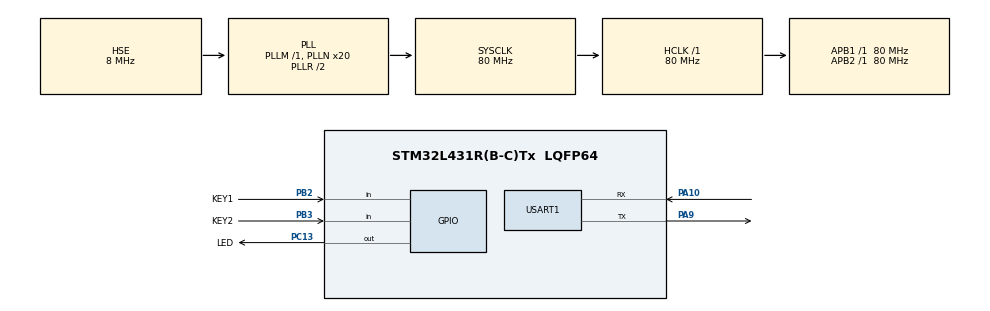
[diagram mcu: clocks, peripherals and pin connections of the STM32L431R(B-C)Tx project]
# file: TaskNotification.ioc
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FREERTOS.Tasks01=Receive1_Task,0,128,Recv1Task,Default,NULL,Dynamic,NULL,NULL;Receive2_Task,-3,128,Recv2Task,Default,NULL,Dynamic,NULL,NULL;Send_Task,-3,128,SendTask,Default,NULL,Dynamic,NULL,NULL
Mcu.Family=STM32L4
Mcu.Name=STM32L431R(B-C)Tx
Mcu.Package=LQFP64
NVIC.PriorityGroup=NVIC_PRIORITYGROUP_4
NVIC.TIM1_UP_TIM16_IRQn=true\:0\:0\:false\:false\:true\:false\:false\:true
NVIC.TimeBase=TIM1_UP_TIM16_IRQn
NVIC.TimeBaseIP=TIM1
PA10.Mode=Asynchronous
PA10.Signal=USART1_RX
PA9.Mode=Asynchronous
PA9.Signal=USART1_TX
PB2.GPIO_Label=KEY1
PB2.GPIO_PuPd=GPIO_PULLUP
PB2.Signal=GPIO_Input
PB3\ (JTDO-TRACESWO).GPIO_Label=KEY2
PB3\ (JTDO-TRACESWO).GPIO_PuPd=GPIO_PULLUP
PB3\ (JTDO-TRACESWO).Signal=GPIO_Input
PC13.GPIO_Label=LED
PC13.Signal=GPIO_Output
PC14-OSC32_IN\ (PC14).Mode=LSE-External-Oscillator
PC14-OSC32_IN\ (PC14).Signal=RCC_OSC32_IN
PC15-OSC32_OUT\ (PC15).Mode=LSE-External-Oscillator
PC15-OSC32_OUT\ (PC15).Signal=RCC_OSC32_OUT
PH0-OSC_IN\ (PH0).Mode=HSE-External-Oscillator
PH0-OSC_IN\ (PH0).Signal=RCC_OSC_IN
PH1-OSC_OUT\ (PH1).Mode=HSE-External-Oscillator
PH1-OSC_OUT\ (PH1).Signal=RCC_OSC_OUT
ProjectManager.HeapSize=0x200
ProjectManager.StackSize=0x400
ProjectManager.TargetToolchain=SW4STM32
RCC.ADCFreq_Value=32000000
RCC.AHBFreq_Value=80000000
RCC.APB1Freq_Value=80000000
RCC.APB1TimFreq_Value=80000000
RCC.APB2Freq_Value=80000000
RCC.APB2TimFreq_Value=80000000
RCC.CortexFreq_Value=80000000
RCC.HCLKFreq_Value=80000000
RCC.HSE_VALUE=8000000
RCC.HSI48_VALUE=48000000
RCC.HSI_VALUE=16000000
RCC.MSI_VALUE=4000000
RCC.PLLN=20
RCC.PLLSourceVirtual=RCC_PLLSOURCE_HSE
RCC.SYSCLKFreq_VALUE=80000000
RCC.SYSCLKSource=RCC_SYSCLKSOURCE_PLLCLK
RCC.VCOOutputFreq_Value=160000000
USART1.VirtualMode-Asynchronous=VM_ASYNC
VP_FREERTOS_VS_CMSIS_V1.Mode=CMSIS_V1
VP_SYS_VS_tim1.Mode=TIM1
board=custom

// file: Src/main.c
/* USER CODE BEGIN Header */
/**
  ******************************************************************************
  * @file           : main.c
  * @brief          : Main program body
  ******************************************************************************
  * @attention
  *
  * <h2><center>&copy; Copyright (c) 2020 STMicroelectronics.
  * All rights reserved.</center></h2>
  *
  * This software component is licensed by ST under Ultimate Liberty license
  * SLA0044, the "License"; You may not use this file except in compliance with
  * the License. You may obtain a copy of the License at:
  *                             www.st.com/SLA0044
  *
  ******************************************************************************
  */
/* USER CODE END Header */

#include "main.h"
#include "cmsis_os.h"

/* USER CODE BEGIN PD */

#define  USE_CHAR 0 /*测试字符串配置用1，测试变量配置为0*/
/* USER CODE END PD */

UART_HandleTypeDef huart1;

osThreadId Receive1_TaskHandle;
osThreadId Receive2_TaskHandle;
osThreadId Send_TaskHandle;
/* USER CODE BEGIN PV */

#if 1
#include <stdio.h>
#include <limits.h>

int _write(int fd, char *ptr, int len)
{
    HAL_UART_Transmit(&huart1,(uint8_t*)ptr, len, 0xFFFF);
    return len;
}

#endif

/* USER CODE END PV */

void SystemClock_Config(void);
static void MX_GPIO_Init(void);
static void MX_USART1_UART_Init(void);
void Recv1Task(void const * argument);
void Recv2Task(void const * argument);
void SendTask(void const * argument);

int main(void)
{

  /* MCU Configuration--------------------------------------------------------*/

  /* Reset of all peripherals, Initializes the Flash interface and the Systick. */
  HAL_Init();

  /* Configure the system clock */
  SystemClock_Config();

  /* Initialize all configured peripherals */
  MX_GPIO_Init();
  MX_USART1_UART_Init();
  /* USER CODE BEGIN 2 */

  printf("Task Notification demo\n");

  /* USER CODE END 2 */

  /* Create the thread(s) */
  /* definition and creation of Receive1_Task */
  osThreadDef(Receive1_Task, Recv1Task, osPriorityNormal, 0, 128);
  Receive1_TaskHandle = osThreadCreate(osThread(Receive1_Task), NULL);

  /* definition and creation of Receive2_Task */
  osThreadDef(Receive2_Task, Recv2Task, osPriorityIdle, 0, 128);
  Receive2_TaskHandle = osThreadCreate(osThread(Receive2_Task), NULL);

  /* definition and creation of Send_Task */
  osThreadDef(Send_Task, SendTask, osPriorityIdle, 0, 128);
  Send_TaskHandle = osThreadCreate(osThread(Send_Task), NULL);

  /* Start scheduler */
  osKernelStart();

  /* We should never get here as control is now taken by the scheduler */

  /* Infinite loop */
  while (1)
  {

  }
}

void SystemClock_Config(void)
{
  RCC_OscInitTypeDef RCC_OscInitStruct = {0};
  RCC_ClkInitTypeDef RCC_ClkInitStruct = {0};
  RCC_PeriphCLKInitTypeDef PeriphClkInit = {0};

  /** Initializes the CPU, AHB and APB busses clocks
  */
  RCC_OscInitStruct.OscillatorType = RCC_OSCILLATORTYPE_HSE;
  RCC_OscInitStruct.HSEState = RCC_HSE_ON;
  RCC_OscInitStruct.PLL.PLLState = RCC_PLL_ON;
  RCC_OscInitStruct.PLL.PLLSource = RCC_PLLSOURCE_HSE;
  RCC_OscInitStruct.PLL.PLLM = 1;
  RCC_OscInitStruct.PLL.PLLN = 20;
  RCC_OscInitStruct.PLL.PLLP = RCC_PLLP_DIV7;
  RCC_OscInitStruct.PLL.PLLQ = RCC_PLLQ_DIV2;
  RCC_OscInitStruct.PLL.PLLR = RCC_PLLR_DIV2;
  if (HAL_RCC_OscConfig(&RCC_OscInitStruct) != HAL_OK)
  {
    Error_Handler();
  }
  /** Initializes the CPU, AHB and APB busses clocks
  */
  RCC_ClkInitStruct.ClockType = RCC_CLOCKTYPE_HCLK|RCC_CLOCKTYPE_SYSCLK
                              |RCC_CLOCKTYPE_PCLK1|RCC_CLOCKTYPE_PCLK2;
  RCC_ClkInitStruct.SYSCLKSource = RCC_SYSCLKSOURCE_PLLCLK;
  RCC_ClkInitStruct.AHBCLKDivider = RCC_SYSCLK_DIV1;
  RCC_ClkInitStruct.APB1CLKDivider = RCC_HCLK_DIV1;
  RCC_ClkInitStruct.APB2CLKDivider = RCC_HCLK_DIV1;

  if (HAL_RCC_ClockConfig(&RCC_ClkInitStruct, FLASH_LATENCY_4) != HAL_OK)
  {
    Error_Handler();
  }
  PeriphClkInit.PeriphClockSelection = RCC_PERIPHCLK_USART1;
  PeriphClkInit.Usart1ClockSelection = RCC_USART1CLKSOURCE_PCLK2;
  if (HAL_RCCEx_PeriphCLKConfig(&PeriphClkInit) != HAL_OK)
  {
    Error_Handler();
  }
  /** Configure the main internal regulator output voltage
  */
  if (HAL_PWREx_ControlVoltageScaling(PWR_REGULATOR_VOLTAGE_SCALE1) != HAL_OK)
  {
    Error_Handler();
  }
}

static void MX_USART1_UART_Init(void)
{

  huart1.Instance = USART1;
  huart1.Init.BaudRate = 115200;
  huart1.Init.WordLength = UART_WORDLENGTH_8B;
  huart1.Init.StopBits = UART_STOPBITS_1;
  huart1.Init.Parity = UART_PARITY_NONE;
  huart1.Init.Mode = UART_MODE_TX_RX;
  huart1.Init.HwFlowCtl = UART_HWCONTROL_NONE;
  huart1.Init.OverSampling = UART_OVERSAMPLING_16;
  huart1.Init.OneBitSampling = UART_ONE_BIT_SAMPLE_DISABLE;
  huart1.AdvancedInit.AdvFeatureInit = UART_ADVFEATURE_NO_INIT;
  if (HAL_UART_Init(&huart1) != HAL_OK)
  {
    Error_Handler();
  }

}

static void MX_GPIO_Init(void)
{
  GPIO_InitTypeDef GPIO_InitStruct = {0};

  /* GPIO Ports Clock Enable */
  __HAL_RCC_GPIOC_CLK_ENABLE();
  __HAL_RCC_GPIOH_CLK_ENABLE();
  __HAL_RCC_GPIOB_CLK_ENABLE();
  __HAL_RCC_GPIOA_CLK_ENABLE();

  /*Configure GPIO pin Output Level */
  HAL_GPIO_WritePin(LED_GPIO_Port, LED_Pin, GPIO_PIN_RESET);

  /*Configure GPIO pin : LED_Pin */
  GPIO_InitStruct.Pin = LED_Pin;
  GPIO_InitStruct.Mode = GPIO_MODE_OUTPUT_PP;
  GPIO_InitStruct.Pull = GPIO_NOPULL;
  GPIO_InitStruct.Speed = GPIO_SPEED_FREQ_LOW;
  HAL_GPIO_Init(LED_GPIO_Port, &GPIO_InitStruct);

  /*Configure GPIO pins : KEY1_Pin KEY2_Pin */
  GPIO_InitStruct.Pin = KEY1_Pin|KEY2_Pin;
  GPIO_InitStruct.Mode = GPIO_MODE_INPUT;
  GPIO_InitStruct.Pull = GPIO_PULLUP;
  HAL_GPIO_Init(GPIOB, &GPIO_InitStruct);

}

void Recv1Task(void const * argument)
{
  /* USER CODE BEGIN 5 */
  BaseType_t xReturn  = pdTRUE;
#if USE_CHAR
  char *r_char;
#else
  uint32_t r_num;
#endif
  /* Infinite loop */
  for(;;)
  {
      //获取任务通知。没获取到则一直等待
      xReturn = xTaskNotifyWait(0x0, //进入函数的时候不清除任务bit
              ULONG_MAX, //退出函数的时候清除所有的bit
#if USE_CHAR
      (uint32_t*)&r_char, //保存任务通知
#else
    &r_num, //保存任务通知
#endif
        portMAX_DELAY //阻塞时间
               );

      if(pdTRUE == xReturn){
#if USE_CHAR
          printf("Receive1_Task 任务通知为 %s\n", r_char);
#else
          printf("Receive1_Task 任务通知为 %d\n", r_num);
#endif
          HAL_GPIO_TogglePin(LED_GPIO_Port, LED_Pin);
      }
    osDelay(1);
  }
  /* USER CODE END 5 */
}

void Recv2Task(void const * argument)
{
  /* USER CODE BEGIN Recv2Task */
    BaseType_t xReturn  = pdTRUE;
#if USE_CHAR
    char *r_char;
#else
    uint32_t r_num;
#endif
    /* Infinite loop */
    for(;;)
    {
        //获取任务通知。没获取到则一直等待
        xReturn = xTaskNotifyWait(0x0, //进入函数的时候不清除任务bit
                                  ULONG_MAX, //退出函数的时候清除所有的bit
#if USE_CHAR
                (uint32_t*)&r_char, //保存任务通知
#else
                                  &r_num, //保存任务通知
#endif
                                  portMAX_DELAY //阻塞时间
        );

        if(pdTRUE == xReturn){
#if USE_CHAR
            printf("Receive2_Task 任务通知为 %s\n", r_char);
#else
            printf("Receive2_Task 任务通知为 %d\n", r_num);
#endif
            HAL_GPIO_TogglePin(LED_GPIO_Port, LED_Pin);
        }
        osDelay(1);
    }
  /* USER CODE END Recv2Task */
}

void SendTask(void const * argument)
{
  /* USER CODE BEGIN SendTask */
  BaseType_t  xReturn = pdPASS;
#if USE_CHAR
  char test_str1[] = "this is a mail test 1";
  char test_str2[] = "this is a mail test 2";
#else
  uint32_t send1 = 1;
  uint32_t send2 = 2;
#endif
  /* Infinite loop */
  for(;;)
  {
      if(HAL_GPIO_ReadPin(KEY1_GPIO_Port, KEY1_Pin) == GPIO_PIN_RESET){
          xReturn = xTaskNotify(Receive1_TaskHandle, //任务句柄
                                #if USE_CHAR
                                (uint32_t)&test_str1, /*发送的数据，最大是4个字节*/
                                #else
                                send1,
                                #endif
        eSetValueWithOverwrite); //覆盖当前通知
        if(xReturn == pdPASS){
              printf("Receive1_Task_Handle 任务通知释放成功\n");
        }
      }

      if(HAL_GPIO_ReadPin(KEY2_GPIO_Port, KEY2_Pin) == GPIO_PIN_RESET){
          xReturn = xTaskNotify(Receive2_TaskHandle, //任务句柄
                                #if USE_CHAR
                                (uint32_t)&test_str2, /*发送的数据，最大是4个字节*/
                                #else
                                        send2,
                                #endif
                                        eSetValueWithOverwrite); //覆盖当前通知
          if(xReturn == pdPASS){
              printf("Receiver2_Task_Handle 任务通知释放成功\n");
          }
      }

    osDelay(100);
  }
  /* USER CODE END SendTask */
}

void HAL_TIM_PeriodElapsedCallback(TIM_HandleTypeDef *htim)
{
  if (htim->Instance == TIM1) {
    HAL_IncTick();
  }
}

void Error_Handler(void)
{
}

/************************ (C) COPYRIGHT STMicroelectronics *****END OF FILE****/
